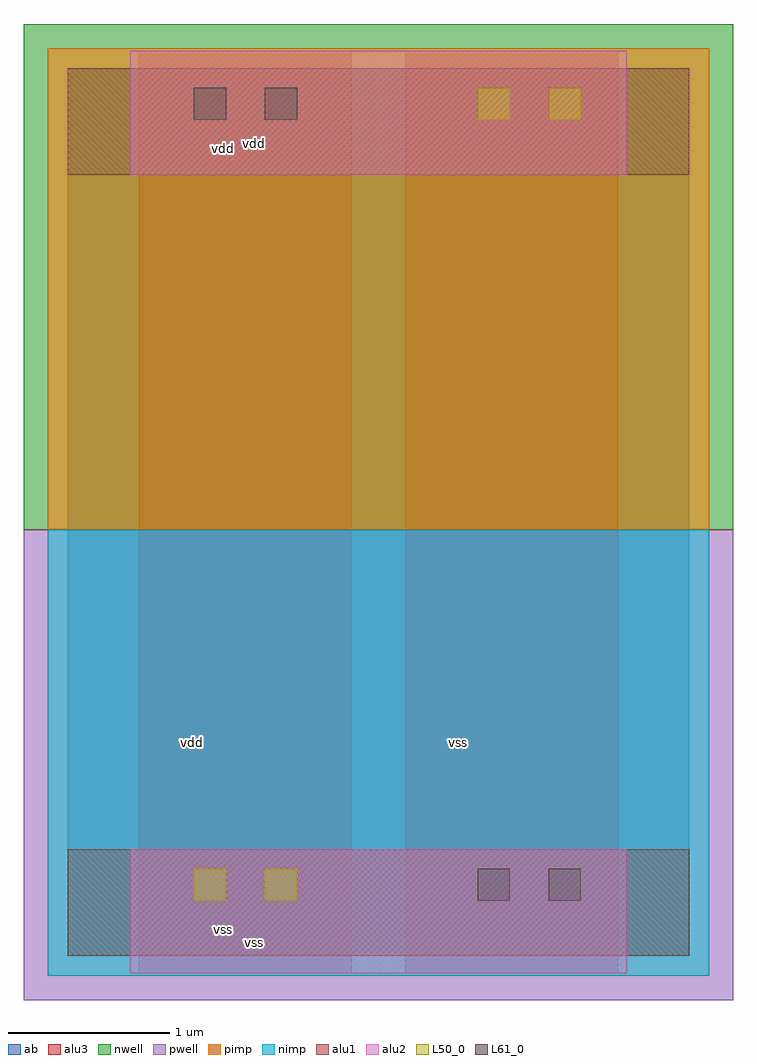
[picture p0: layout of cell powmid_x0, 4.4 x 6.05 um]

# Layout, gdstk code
import gdstk
lib = gdstk.Library(unit=1e-6, precision=2.5e-09)
def R(c, l, rs):  # rectangles x0, y0, x1, y1
    for r in rs: c.add(gdstk.rectangle(r[:2], r[2:], *l))
pwell = (41, 0)
nwell = (42, 0)
pimp = (44, 0)
nimp = (45, 0)
alu1 = (49, 0)
L50_0 = (50, 0)
alu2 = (51, 0)
L61_0 = (61, 0)
alu3 = (62, 0)
ab = (63, 0)

powmid_x0 = lib.new_cell('powmid_x0')
R(powmid_x0, pwell, [(-0.275,-0.275,4.125,2.64)])
R(powmid_x0, nwell, [(-0.275,2.64,4.125,5.775)])
R(powmid_x0, pimp, [(-0.125,2.64,3.975,5.625)])
R(powmid_x0, nimp, [(-0.125,-0.125,3.975,2.64)])
R(powmid_x0, alu1, [(0,0,3.85,0.66), (0,4.84,3.85,5.5)])
R(powmid_x0, L50_0, [(0.78,0.34,0.98,0.54), (1.22,0.34,1.42,0.54), (2.54,5.18,2.74,5.38), (2.98,5.18,3.18,5.38)])
R(powmid_x0, alu2, [(0.385,-0.11,3.465,0.66), (0.385,4.84,3.465,5.61)])
R(powmid_x0, L61_0, [(2.54,0.34,2.74,0.54), (2.98,0.34,3.18,0.54), (0.78,5.18,0.98,5.38), (1.22,5.18,1.42,5.38)])
R(powmid_x0, alu3, [(0.44,-0.11,1.76,5.61), (2.09,-0.11,3.41,5.61)])
R(powmid_x0, ab, [(0,0,3.85,5.5)])
powmid_x0.add(gdstk.Label('vss', (0.9625,0.165), layer=49, texttype=0))
powmid_x0.add(gdstk.Label('vdd', (0.9625,5.005), layer=49, texttype=0))
powmid_x0.add(gdstk.Label('vss', (1.155,0.0825), layer=51, texttype=0))
powmid_x0.add(gdstk.Label('vdd', (1.155,5.0325), layer=51, texttype=0))
powmid_x0.add(gdstk.Label('vss', (2.42,1.32), layer=62, texttype=0))
powmid_x0.add(gdstk.Label('vdd', (0.77,1.32), layer=62, texttype=0))

lib.write_gds('powmid_x0.gds')
